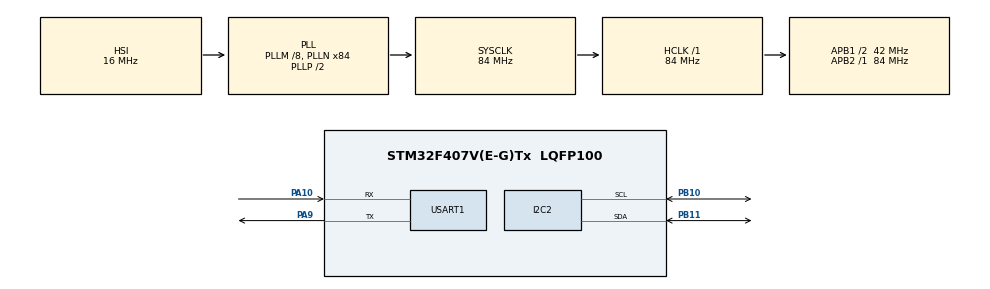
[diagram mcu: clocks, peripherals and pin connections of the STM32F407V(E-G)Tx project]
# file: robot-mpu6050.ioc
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FREERTOS.Queues01=dataQueue01,16,uint16_t,0,Dynamic,NULL,NULL
FREERTOS.Tasks01=ProcessingTask,24,256,StartProcessingTask,Default,NULL,Dynamic,NULL,NULL;SensorTask,8,256,StartSensorTask,Default,NULL,Dynamic,NULL,NULL;UartTask,8,256,StartUartTask,Default,NULL,Dynamic,NULL,NULL
Mcu.Family=STM32F4
Mcu.Name=STM32F407V(E-G)Tx
Mcu.Package=LQFP100
NVIC.PriorityGroup=NVIC_PRIORITYGROUP_4
NVIC.TIM8_UP_TIM13_IRQn=true\:15\:0\:false\:false\:true\:false\:false\:true\:true
NVIC.TimeBase=TIM8_UP_TIM13_IRQn
NVIC.TimeBaseIP=TIM8
PA10.Mode=Asynchronous
PA10.Signal=USART1_RX
PA13.Mode=Serial_Wire
PA13.Signal=SYS_JTMS-SWDIO
PA14.Mode=Serial_Wire
PA14.Signal=SYS_JTCK-SWCLK
PA9.Mode=Asynchronous
PA9.Signal=USART1_TX
PB10.Mode=I2C
PB10.Signal=I2C2_SCL
PB11.Mode=I2C
PB11.Signal=I2C2_SDA
ProjectManager.HeapSize=0x200
ProjectManager.StackSize=0x400
ProjectManager.TargetToolchain=Makefile
RCC.48MHZClocksFreq_Value=42000000
RCC.AHBFreq_Value=84000000
RCC.APB1CLKDivider=RCC_HCLK_DIV2
RCC.APB1Freq_Value=42000000
RCC.APB1TimFreq_Value=84000000
RCC.APB2Freq_Value=84000000
RCC.APB2TimFreq_Value=84000000
RCC.CortexFreq_Value=84000000
RCC.HCLKFreq_Value=84000000
RCC.HSE_VALUE=8000000
RCC.HSI_VALUE=16000000
RCC.LSE_VALUE=32768
RCC.PLLM=8
RCC.PLLN=84
RCC.SYSCLKFreq_VALUE=84000000
RCC.SYSCLKSource=RCC_SYSCLKSOURCE_PLLCLK
RCC.VCOOutputFreq_Value=168000000
USART1.VirtualMode=VM_ASYNC
VP_FREERTOS_VS_CMSIS_V2.Mode=CMSIS_V2
VP_SYS_VS_tim8.Mode=TIM8
board=custom

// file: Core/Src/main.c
/* USER CODE BEGIN Header */
/**
  ******************************************************************************
  * @file           : main.c
  * @brief          : Main program body
  ******************************************************************************
  * @attention
  *
  * Copyright (c) 2025 STMicroelectronics.
  * All rights reserved.
  *
  * This software is licensed under terms that can be found in the LICENSE file
  * in the root directory of this software component.
  * If no LICENSE file comes with this software, it is provided AS-IS.
  *
  ******************************************************************************
  */
/* USER CODE END Header */
#include "main.h"
#include "cmsis_os.h"
#include "i2c.h"
#include "usart.h"
#include "gpio.h"

void SystemClock_Config(void);
void MX_FREERTOS_Init(void);

int main(void)
{

  /* MCU Configuration--------------------------------------------------------*/

  /* Reset of all peripherals, Initializes the Flash interface and the Systick. */
  HAL_Init();

  /* Configure the system clock */
  SystemClock_Config();

  /* Initialize all configured peripherals */
  MX_GPIO_Init();
  MX_I2C2_Init();
  MX_USART1_UART_Init();

  /* Init scheduler */
  osKernelInitialize();  /* Call init function for freertos objects (in cmsis_os2.c) */
  MX_FREERTOS_Init();

  /* Start scheduler */
  osKernelStart();

  /* We should never get here as control is now taken by the scheduler */

  /* Infinite loop */
  while (1)
  {

  }
}

void SystemClock_Config(void)
{
  RCC_OscInitTypeDef RCC_OscInitStruct = {0};
  RCC_ClkInitTypeDef RCC_ClkInitStruct = {0};

  /** Configure the main internal regulator output voltage
  */
  __HAL_RCC_PWR_CLK_ENABLE();
  __HAL_PWR_VOLTAGESCALING_CONFIG(PWR_REGULATOR_VOLTAGE_SCALE1);

  /** Initializes the RCC Oscillators according to the specified parameters
  * in the RCC_OscInitTypeDef structure.
  */
  RCC_OscInitStruct.OscillatorType = RCC_OSCILLATORTYPE_HSI;
  RCC_OscInitStruct.HSIState = RCC_HSI_ON;
  RCC_OscInitStruct.HSICalibrationValue = RCC_HSICALIBRATION_DEFAULT;
  RCC_OscInitStruct.PLL.PLLState = RCC_PLL_ON;
  RCC_OscInitStruct.PLL.PLLSource = RCC_PLLSOURCE_HSI;
  RCC_OscInitStruct.PLL.PLLM = 8;
  RCC_OscInitStruct.PLL.PLLN = 84;
  RCC_OscInitStruct.PLL.PLLP = RCC_PLLP_DIV2;
  RCC_OscInitStruct.PLL.PLLQ = 4;
  if (HAL_RCC_OscConfig(&RCC_OscInitStruct) != HAL_OK)
  {
    Error_Handler();
  }

  /** Initializes the CPU, AHB and APB buses clocks
  */
  RCC_ClkInitStruct.ClockType = RCC_CLOCKTYPE_HCLK|RCC_CLOCKTYPE_SYSCLK
                              |RCC_CLOCKTYPE_PCLK1|RCC_CLOCKTYPE_PCLK2;
  RCC_ClkInitStruct.SYSCLKSource = RCC_SYSCLKSOURCE_PLLCLK;
  RCC_ClkInitStruct.AHBCLKDivider = RCC_SYSCLK_DIV1;
  RCC_ClkInitStruct.APB1CLKDivider = RCC_HCLK_DIV2;
  RCC_ClkInitStruct.APB2CLKDivider = RCC_HCLK_DIV1;

  if (HAL_RCC_ClockConfig(&RCC_ClkInitStruct, FLASH_LATENCY_2) != HAL_OK)
  {
    Error_Handler();
  }
}

void HAL_TIM_PeriodElapsedCallback(TIM_HandleTypeDef *htim)
{
  if (htim->Instance == TIM8)
  {
    HAL_IncTick();
  }
}

void Error_Handler(void)
{
  __disable_irq();
  while (1)
  {
  }
}

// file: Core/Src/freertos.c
/* USER CODE BEGIN Header */
/**
  ******************************************************************************
  * File Name          : freertos.c
  * Description        : Code for freertos applications
  ******************************************************************************
  * @attention
  *
  * Copyright (c) 2025 STMicroelectronics.
  * All rights reserved.
  *
  * This software is licensed under terms that can be found in the LICENSE file
  * in the root directory of this software component.
  * If no LICENSE file comes with this software, it is provided AS-IS.
  *
  ******************************************************************************
  */
/* USER CODE END Header */

#include "FreeRTOS.h"
#include "task.h"
#include "main.h"
#include "cmsis_os.h"

/* USER CODE BEGIN Includes */
#include "mpu6050.h"
#include "usart.h"
#include "i2c.h"
#include <stdio.h>
#include "queue.h"
/* USER CODE END Includes */

/* USER CODE BEGIN PTD */
int _write(int file, char *data, int len)
{
    HAL_UART_Transmit(&huart1, (uint8_t*)data, len, 100);
    return len;
}
/* USER CODE END PTD */

/* Definitions for ProcessingTask */
osThreadId_t ProcessingTaskHandle;
const osThreadAttr_t ProcessingTask_attributes = {
  .name = "ProcessingTask",
  .stack_size = 256 * 4,
  .priority = (osPriority_t) osPriorityNormal,
};
/* Definitions for SensorTask */
osThreadId_t SensorTaskHandle;
const osThreadAttr_t SensorTask_attributes = {
  .name = "SensorTask",
  .stack_size = 256 * 4,
  .priority = (osPriority_t) osPriorityAboveNormal,
};
/* Definitions for UartTask */
osThreadId_t UartTaskHandle;
const osThreadAttr_t UartTask_attributes = {
  .name = "UartTask",
  .stack_size = 256 * 4,
  .priority = (osPriority_t) osPriorityLow,
};
/* Definitions for dataQueue01 */
osMessageQueueId_t dataQueue01Handle;
const osMessageQueueAttr_t dataQueue01_attributes = {
  .name = "dataQueue01"
};

void StartProcessingTask(void *argument);
void StartSensorTask(void *argument);
void StartUartTask(void *argument);

void MX_FREERTOS_Init(void); /* (MISRA C 2004 rule 8.1) */

void MX_FREERTOS_Init(void) {

  /* Create the queue(s) */
  /* creation of dataQueue01 */
  dataQueue01Handle = osMessageQueueNew (16, sizeof(uint16_t), &dataQueue01_attributes);

  /* Create the thread(s) */
  /* creation of ProcessingTask */
  ProcessingTaskHandle = osThreadNew(StartProcessingTask, NULL, &ProcessingTask_attributes);

  /* creation of SensorTask */
  SensorTaskHandle = osThreadNew(StartSensorTask, NULL, &SensorTask_attributes);

  /* creation of UartTask */
  UartTaskHandle = osThreadNew(StartUartTask, NULL, &UartTask_attributes);

}

void StartProcessingTask(void *argument)
{
  for(;;)
  {
    osDelay(1);
  }
}

void StartSensorTask(void *argument)
{
  /* USER CODE BEGIN StartSensorTask */
  MPU6050_Init(Sensor_I2C2_Serch());

  /* Infinite loop */
  for(;;)
  {

  // 队列发送的是指针，是结构体的指针，这比直接复制数据再传输要快
MPU6050DATATYPE* p_mpu_data = (MPU6050DATATYPE*) pvPortMalloc(sizeof(Mpu6050_Data));

//1 检查内存是否充足
      if (p_mpu_data == NULL) {
            // 内存不足，处理错误，例如延时后重试
            osDelay(100);
            continue;
        }

      MPU6050_Read_Accel();
      MPU6050_Read_Gyro();
      MPU6050_Read_Temp();

        *p_mpu_data = Mpu6050_Data; // 结构体整体赋值，将全局数据复制到堆内存

 if (xQueueSend(dataQueue01Handle, &p_mpu_data, portMAX_DELAY) != pdPASS) {
        // 如果发送失败（例如队列已满），则需要释放已分配的内存，否则会造成内存泄漏
        vPortFree(p_mpu_data);
        p_mpu_data = NULL; // 最佳实践：将指针置空
        // 可以添加错误日志或告警
    }

     osDelay(100);
  }

  /* USER CODE END StartSensorTask */
}

void StartUartTask(void *argument)
{
  /* USER CODE BEGIN StartUartTask */
   MPU6050DATATYPE* p_received_mpu_data; // 定义一个指针变量，用于接收从队列中取出的数据地址

  /* Infinite loop */
  for(;;)
  {
    // 1. 从队列接收指向 MPU6050_Data_t 结构体的指针
    // xQueueReceive 的第二个参数是一个指向指针的指针，因为队列会将接收到的指针值（地址）写入 p_received_mpu_data
    if (xQueueReceive(dataQueue01Handle, &p_received_mpu_data, portMAX_DELAY) == pdPASS) {
      // 成功从队列中接收到了数据指针

      // 2. 通过接收到的指针 p_received_mpu_data 访问 MPU6050_Data_t 结构体中的各个成员
      // 并使用 printf 将数据格式化输出到串口
      printf("--- MPU6050 Data ---\r\n"); // \r\n 用于新行和回车，确保在串口终端显示正确
      printf("Temperature: %.2f C\r\n", p_received_mpu_data->Temp);
      printf("Accel (X, Y, Z): %.2f, %.2f, %.2f\r\n",
             p_received_mpu_data->Accel_X,
             p_received_mpu_data->Accel_Y,
             p_received_mpu_data->Accel_Z);
      printf("Gyro (X, Y, Z): %.2f, %.2f, %.2f\r\n",
             p_received_mpu_data->Gyro_X,
             p_received_mpu_data->Gyro_Y,
             p_received_mpu_data->Gyro_Z);
      printf("--------------------\r\n\r\n");

      // 3. **重要：** 使用完毕后，**释放**动态分配的内存
      // 这块内存是 SensorTask 中通过 pvPortMalloc 分配的，必须由接收方释放，否则会造成内存泄漏。
      //vPortFree(p_received_mpu_data);
      p_received_mpu_data = NULL; // 将指针置空，避免后续意外使用已释放的内存（野指针）
    }

    osDelay(50); // 短暂延时，避免任务空转占用过多CPU，让其他任务有机会运行
  }
  /* USER CODE END StartUartTask */
}
